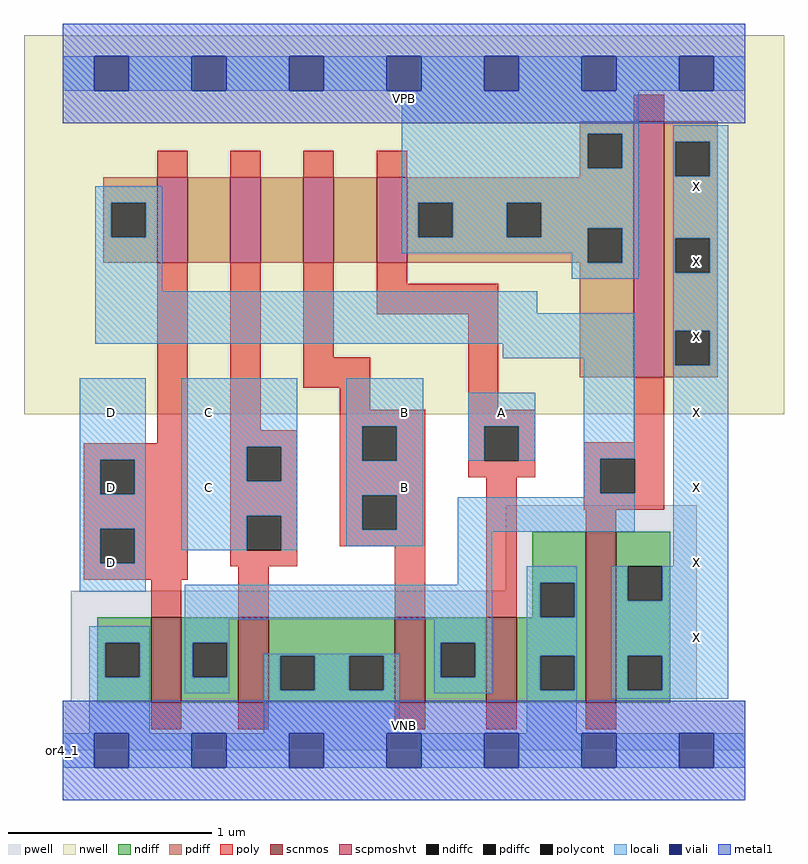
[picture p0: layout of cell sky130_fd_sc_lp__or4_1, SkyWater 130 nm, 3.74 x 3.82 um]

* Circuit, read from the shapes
.subckt sky130_fd_sc_lp__or4_1 A B C D VGND VNB VPB VPWR X
XM1 n1 D VGND VNB sky130_fd_pr__nfet_01v8 w=0.42 l=0.15
XM2 VGND C n1 VNB sky130_fd_pr__nfet_01v8 w=0.42 l=0.15
XM3 n1 B VGND VNB sky130_fd_pr__nfet_01v8 w=0.42 l=0.15
XM4 VGND A n1 VNB sky130_fd_pr__nfet_01v8 w=0.42 l=0.15
XM5 X n1 VGND VNB sky130_fd_pr__nfet_01v8 w=0.84 l=0.15
XM6 n2 D n1 VPB sky130_fd_pr__pfet_01v8_hvt w=0.42 l=0.15
XM7 n3 C n2 VPB sky130_fd_pr__pfet_01v8_hvt w=0.42 l=0.15
XM8 n4 B n3 VPB sky130_fd_pr__pfet_01v8_hvt w=0.42 l=0.15
XM9 VPWR A n4 VPB sky130_fd_pr__pfet_01v8_hvt w=0.42 l=0.15
XM10 X n1 VPWR VPB sky130_fd_pr__pfet_01v8_hvt w=1.26 l=0.15
.ends

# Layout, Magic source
magic
tech sky130A
magscale 1 2
<< nwell >>
rect -38 331 710 704
<< pwell >>
rect 436 157 624 241
rect 8 49 624 157
rect 0 0 672 49
<< scnmos >>
rect 87 47 117 131
rect 173 47 203 131
rect 327 47 357 131
rect 417 47 447 131
rect 515 47 545 215
<< scpmoshvt >>
rect 93 480 123 564
rect 165 480 195 564
rect 237 480 267 564
rect 309 480 339 564
rect 562 367 592 619
<< ndiff >>
rect 462 165 515 215
rect 462 131 470 165
rect 504 131 515 165
rect 34 106 87 131
rect 34 72 42 106
rect 76 72 87 106
rect 34 47 87 72
rect 117 106 173 131
rect 117 72 128 106
rect 162 72 173 106
rect 117 47 173 72
rect 203 93 327 131
rect 203 59 214 93
rect 248 59 282 93
rect 316 59 327 93
rect 203 47 327 59
rect 357 106 417 131
rect 357 72 372 106
rect 406 72 417 106
rect 357 47 417 72
rect 447 93 515 131
rect 447 59 470 93
rect 504 59 515 93
rect 447 47 515 59
rect 545 181 598 215
rect 545 147 556 181
rect 590 147 598 181
rect 545 93 598 147
rect 545 59 556 93
rect 590 59 598 93
rect 545 47 598 59
<< pdiff >>
rect 509 607 562 619
rect 509 573 517 607
rect 551 573 562 607
rect 509 564 562 573
rect 40 539 93 564
rect 40 505 48 539
rect 82 505 93 539
rect 40 480 93 505
rect 123 480 165 564
rect 195 480 237 564
rect 267 480 309 564
rect 339 539 562 564
rect 339 505 350 539
rect 384 505 437 539
rect 471 514 562 539
rect 471 505 517 514
rect 339 480 517 505
rect 551 480 562 514
rect 509 367 562 480
rect 592 599 645 619
rect 592 565 603 599
rect 637 565 645 599
rect 592 504 645 565
rect 592 470 603 504
rect 637 470 645 504
rect 592 413 645 470
rect 592 379 603 413
rect 637 379 645 413
rect 592 367 645 379
<< ndiffc >>
rect 470 131 504 165
rect 42 72 76 106
rect 128 72 162 106
rect 214 59 248 93
rect 282 59 316 93
rect 372 72 406 106
rect 470 59 504 93
rect 556 147 590 181
rect 556 59 590 93
<< pdiffc >>
rect 517 573 551 607
rect 48 505 82 539
rect 350 505 384 539
rect 437 505 471 539
rect 517 480 551 514
rect 603 565 637 599
rect 603 470 637 504
rect 603 379 637 413
<< poly >>
rect 562 619 592 645
rect 93 564 123 590
rect 165 564 195 590
rect 237 564 267 590
rect 309 564 339 590
rect 93 302 123 480
rect 21 286 123 302
rect 21 252 37 286
rect 71 252 123 286
rect 21 218 123 252
rect 21 184 37 218
rect 71 184 123 218
rect 21 168 123 184
rect 165 315 195 480
rect 237 387 267 480
rect 309 459 339 480
rect 309 429 429 459
rect 237 357 303 387
rect 273 335 303 357
rect 399 335 429 429
rect 273 319 357 335
rect 165 299 231 315
rect 165 265 181 299
rect 215 265 231 299
rect 165 231 231 265
rect 165 197 181 231
rect 215 197 231 231
rect 273 285 295 319
rect 329 285 357 319
rect 273 251 357 285
rect 399 319 465 335
rect 399 285 415 319
rect 449 285 465 319
rect 562 303 592 367
rect 399 269 465 285
rect 513 287 592 303
rect 273 217 295 251
rect 329 217 357 251
rect 273 201 357 217
rect 165 181 231 197
rect 87 131 117 168
rect 173 131 203 181
rect 327 131 357 201
rect 417 131 447 269
rect 513 253 529 287
rect 563 253 592 287
rect 513 237 592 253
rect 515 215 545 237
rect 87 21 117 47
rect 173 21 203 47
rect 327 21 357 47
rect 417 21 447 47
rect 515 21 545 47
<< polycont >>
rect 37 252 71 286
rect 37 184 71 218
rect 181 265 215 299
rect 181 197 215 231
rect 295 285 329 319
rect 415 285 449 319
rect 295 217 329 251
rect 529 253 563 287
<< locali >>
rect 0 649 31 683
rect 65 649 127 683
rect 161 649 223 683
rect 257 649 319 683
rect 353 649 415 683
rect 449 649 511 683
rect 545 649 607 683
rect 641 649 672 683
rect 334 607 567 649
rect 334 573 517 607
rect 551 573 567 607
rect 32 539 98 555
rect 32 505 48 539
rect 82 505 98 539
rect 32 452 98 505
rect 334 539 567 573
rect 334 505 350 539
rect 384 505 437 539
rect 471 514 567 539
rect 471 505 517 514
rect 334 489 517 505
rect 501 480 517 489
rect 551 480 567 514
rect 501 464 567 480
rect 601 599 655 615
rect 601 565 603 599
rect 637 565 655 599
rect 601 504 655 565
rect 601 470 603 504
rect 637 470 655 504
rect 32 430 467 452
rect 32 400 563 430
rect 433 386 563 400
rect 17 286 82 366
rect 17 252 37 286
rect 71 252 82 286
rect 17 218 82 252
rect 17 184 37 218
rect 71 184 82 218
rect 117 299 231 366
rect 117 265 181 299
rect 215 265 231 299
rect 117 231 231 265
rect 117 197 181 231
rect 215 197 231 231
rect 279 319 355 366
rect 279 285 295 319
rect 329 285 355 319
rect 399 319 465 352
rect 399 285 415 319
rect 449 285 465 319
rect 513 287 563 386
rect 279 251 355 285
rect 279 217 295 251
rect 329 217 355 251
rect 513 253 529 287
rect 513 249 563 253
rect 279 201 355 217
rect 389 215 563 249
rect 601 413 655 470
rect 601 379 603 413
rect 637 379 655 413
rect 17 156 82 184
rect 389 163 423 215
rect 601 181 655 379
rect 120 129 423 163
rect 26 106 86 122
rect 26 72 42 106
rect 76 72 86 106
rect 26 17 86 72
rect 120 106 164 129
rect 120 72 128 106
rect 162 72 164 106
rect 366 106 423 129
rect 120 56 164 72
rect 198 93 332 95
rect 198 59 214 93
rect 248 59 282 93
rect 316 59 332 93
rect 198 17 332 59
rect 366 72 372 106
rect 406 72 423 106
rect 366 56 423 72
rect 457 165 506 181
rect 457 131 470 165
rect 504 131 506 165
rect 457 93 506 131
rect 457 59 470 93
rect 504 59 506 93
rect 457 17 506 59
rect 540 147 556 181
rect 590 147 655 181
rect 540 93 655 147
rect 540 59 556 93
rect 590 59 655 93
rect 540 51 655 59
rect 0 -17 31 17
rect 65 -17 127 17
rect 161 -17 223 17
rect 257 -17 319 17
rect 353 -17 415 17
rect 449 -17 511 17
rect 545 -17 607 17
rect 641 -17 672 17
<< viali >>
rect 31 649 65 683
rect 127 649 161 683
rect 223 649 257 683
rect 319 649 353 683
rect 415 649 449 683
rect 511 649 545 683
rect 607 649 641 683
rect 31 -17 65 17
rect 127 -17 161 17
rect 223 -17 257 17
rect 319 -17 353 17
rect 415 -17 449 17
rect 511 -17 545 17
rect 607 -17 641 17
<< metal1 >>
rect 0 683 672 715
rect 0 649 31 683
rect 65 649 127 683
rect 161 649 223 683
rect 257 649 319 683
rect 353 649 415 683
rect 449 649 511 683
rect 545 649 607 683
rect 641 649 672 683
rect 0 617 672 649
rect 0 17 672 49
rect 0 -17 31 17
rect 65 -17 127 17
rect 161 -17 223 17
rect 257 -17 319 17
rect 353 -17 415 17
rect 449 -17 511 17
rect 545 -17 607 17
rect 641 -17 672 17
rect 0 -49 672 -17
<< labels >>
flabel pwell s 0 0 672 49 0 FreeSans 200 0 0 0 VNB
port 6 nsew ground bidirectional
flabel nwell s 0 617 672 666 0 FreeSans 200 0 0 0 VPB
port 7 nsew power bidirectional
rlabel comment s 0 0 0 0 4 or4_1
flabel metal1 s 0 617 672 666 0 FreeSans 340 0 0 0 VPWR
port 8 nsew power bidirectional
flabel metal1 s 0 0 672 49 0 FreeSans 340 0 0 0 VGND
port 5 nsew ground bidirectional
flabel locali s 127 242 161 276 0 FreeSans 340 0 0 0 C
port 3 nsew signal input
flabel locali s 127 316 161 350 0 FreeSans 340 0 0 0 C
port 3 nsew signal input
flabel locali s 31 168 65 202 0 FreeSans 340 0 0 0 D
port 4 nsew signal input
flabel locali s 31 242 65 276 0 FreeSans 340 0 0 0 D
port 4 nsew signal input
flabel locali s 31 316 65 350 0 FreeSans 340 0 0 0 D
port 4 nsew signal input
flabel locali s 607 94 641 128 0 FreeSans 340 0 0 0 X
port 9 nsew signal output
flabel locali s 607 168 641 202 0 FreeSans 340 0 0 0 X
port 9 nsew signal output
flabel locali s 607 242 641 276 0 FreeSans 340 0 0 0 X
port 9 nsew signal output
flabel locali s 607 316 641 350 0 FreeSans 340 0 0 0 X
port 9 nsew signal output
flabel locali s 607 390 641 424 0 FreeSans 340 0 0 0 X
port 9 nsew signal output
flabel locali s 607 464 641 498 0 FreeSans 340 0 0 0 X
port 9 nsew signal output
flabel locali s 607 538 641 572 0 FreeSans 340 0 0 0 X
port 9 nsew signal output
flabel locali s 415 316 449 350 0 FreeSans 340 0 0 0 A
port 1 nsew signal input
flabel locali s 319 242 353 276 0 FreeSans 340 0 0 0 B
port 2 nsew signal input
flabel locali s 319 316 353 350 0 FreeSans 340 0 0 0 B
port 2 nsew signal input
<< properties >>
string LEFsite unit
string LEFclass CORE
string FIXED_BBOX 0 0 672 666
string GDS_FILE $PDKPATH/libs.ref/sky130_fd_sc_lp/gds/sky130_fd_sc_lp.gds
string LEFsymmetry X Y R90
string GDS_END 327160
string GDS_START 319866
<< end >>
